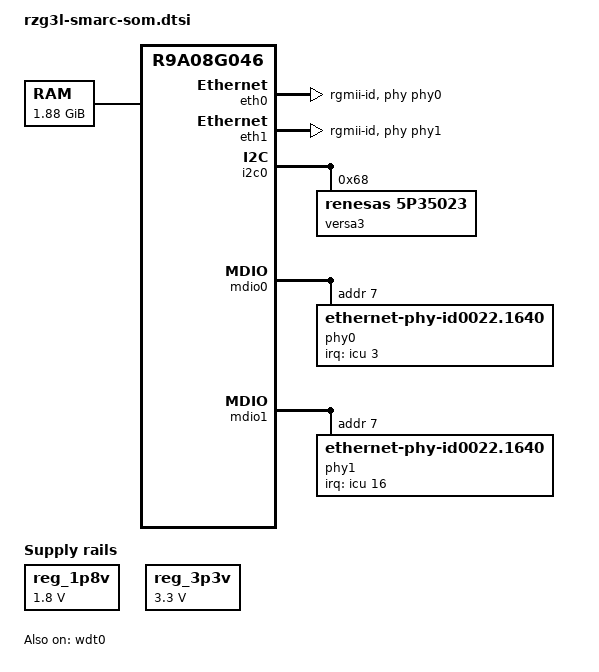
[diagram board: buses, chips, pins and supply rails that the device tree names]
// SPDX-License-Identifier: (GPL-2.0-only OR BSD-2-Clause)
/*
 * Device Tree Source for R9A08G046L48 SMARC SoM board.
 *
 * Copyright (C) 2026 Renesas Electronics Corp.
 */

/*
 * Please set the below switch position on the SoM and the corresponding macro
 * on the board DTS:
 *
 * Switch position SYS.2, Macro SW_I3C_EN:
 *      0 - SMARC_I2C_GP is enabled
 *      1 - I3C is enabled
 *
 * Switch position SYS.4, Macro SW_SD2_EN:
 *      0 - Select I2S0
 *      1 - Select SD2
 *
 * Switch position SYS.5, Macro SW_DPI_EN:
 *      0 - Select multiple SMARC signals active
 *      1 - Select LCD
 *
 * Switch position BOOT.1, Macro RZ_BOOT_MODE3:
 *      0 - Select JTAG enabled
 *      1 - Select SDIO {CD,IOVS,PWEN} and GPIO4 Active
 *
 * Switch position SW_GPIO4, Macro SW_GPIO4:
 *      0 - Select RZ_VBAT_TAMPER (position 2-1)
 *      1 - Select GPIO4 (position 2-3)
 */

/ {
	compatible = "renesas,rzg3l-smarcm", "renesas,r9a08g046l48", "renesas,r9a08g046";

	aliases {
		ethernet0 = &eth0;
		ethernet1 = &eth1;
		i2c0 = &i2c0;
	};

	memory@48000000 {
		device_type = "memory";
		/* First 128MiB is reserved for secure area. */
		reg = <0x0 0x48000000 0x0 0x78000000>;
	};

	reg_1p8v: regulator-1p8v {
		compatible = "regulator-fixed";
		regulator-name = "fixed-1.8V";
		regulator-min-microvolt = <1800000>;
		regulator-max-microvolt = <1800000>;
		regulator-boot-on;
		regulator-always-on;
	};

	reg_3p3v: regulator-3p3v {
		compatible = "regulator-fixed";
		regulator-name = "fixed-3.3V";
		regulator-min-microvolt = <3300000>;
		regulator-max-microvolt = <3300000>;
		regulator-boot-on;
		regulator-always-on;
	};

	x2_clk: x2-clock {
		compatible = "fixed-clock";
		#clock-cells = <0>;
		clock-frequency = <24000000>;
	};
};

&eth0 {
	phy-handle = <&phy0>;
	phy-mode = "rgmii-id";

	pinctrl-0 = <&eth0_pins>;
	pinctrl-names = "default";
	status = "okay";
};

&eth0_rxc_rx_clk {
	clock-frequency = <125000000>;
};

&eth1 {
	phy-handle = <&phy1>;
	phy-mode = "rgmii-id";

	pinctrl-0 = <&eth1_pins>;
	pinctrl-names = "default";
	status = "okay";
};

&eth1_rxc_rx_clk {
	clock-frequency = <125000000>;
};

&extal_clk {
	clock-frequency = <24000000>;
};

&i2c0 {
	pinctrl-0 = <&i2c0_pins>;
	pinctrl-names = "default";

	versa3: clock-generator@68 {
		compatible = "renesas,5p35023";
		reg = <0x68>;
		#clock-cells = <1>;
		clocks = <&x2_clk>;

		assigned-clocks = <&versa3 1>, <&versa3 2>,
				  <&versa3 3>, <&versa3 4>;
		assigned-clock-rates = <12288000>, <11289600>,
				       <12288000>, <25000000>;
	};
};

&mdio0 {
	phy0: ethernet-phy@7 {
		compatible = "ethernet-phy-id0022.1640";
		reg = <7>;
		interrupts-extended = <&icu 3 IRQ_TYPE_LEVEL_LOW>;
		rxc-skew-psec = <1400>;
		txc-skew-psec = <1400>;
		rxdv-skew-psec = <0>;
		txen-skew-psec = <0>;
		rxd0-skew-psec = <0>;
		rxd1-skew-psec = <0>;
		rxd2-skew-psec = <0>;
		rxd3-skew-psec = <0>;
		txd0-skew-psec = <0>;
		txd1-skew-psec = <0>;
		txd2-skew-psec = <0>;
		txd3-skew-psec = <0>;
	};
};

&mdio1 {
	phy1: ethernet-phy@7 {
		compatible = "ethernet-phy-id0022.1640";
		reg = <7>;
		interrupts-extended = <&icu 16 IRQ_TYPE_LEVEL_LOW>;
		rxc-skew-psec = <1400>;
		txc-skew-psec = <1400>;
		rxdv-skew-psec = <0>;
		txen-skew-psec = <0>;
		rxd0-skew-psec = <0>;
		rxd1-skew-psec = <0>;
		rxd2-skew-psec = <0>;
		rxd3-skew-psec = <0>;
		txd0-skew-psec = <0>;
		txd1-skew-psec = <0>;
		txd2-skew-psec = <0>;
		txd3-skew-psec = <0>;
	};
};

&pinctrl {
	eth0_pins: eth0 {
		txc {
			pinmux = <RZG3L_PORT_PINMUX(B, 1, 1)>;  /* ETH0_TXC_REF_CLK */
			power-source = <1800>;
			output-enable;
			drive-strength-microamp = <5200>;
		};

		ctrl {
			pinmux = <RZG3L_PORT_PINMUX(A, 0, 1)>, /* MDIO */
				 <RZG3L_PORT_PINMUX(A, 1, 1)>, /* MDC */
				 <RZG3L_PORT_PINMUX(A, 2, 1)>, /* RX_CTL */
				 <RZG3L_PORT_PINMUX(A, 3, 1)>, /* TX_CTL */
				 <RZG3L_PORT_PINMUX(B, 0, 1)>, /* RXC */
				 <RZG3L_PORT_PINMUX(B, 2, 1)>, /* TXD0 */
				 <RZG3L_PORT_PINMUX(B, 3, 1)>, /* TXD1 */
				 <RZG3L_PORT_PINMUX(B, 4, 1)>, /* TXD2 */
				 <RZG3L_PORT_PINMUX(B, 5, 1)>, /* TXD3 */
				 <RZG3L_PORT_PINMUX(B, 6, 1)>, /* RXD0 */
				 <RZG3L_PORT_PINMUX(B, 7, 1)>, /* RXD1 */
				 <RZG3L_PORT_PINMUX(C, 0, 1)>, /* RXD2 */
				 <RZG3L_PORT_PINMUX(C, 1, 1)>, /* RXD3 */
				 <RZG3L_PORT_PINMUX(C, 2, 15)>; /* PHY_INTR */
				 power-source = <1800>;
		};
	};

	eth1_pins: eth1 {
		txc {
			pinmux = <RZG3L_PORT_PINMUX(E, 1, 1)>;  /* ETH1_TXC_REF_CLK */
			power-source = <1800>;
			output-enable;
			drive-strength-microamp = <5200>;
		};

		ctrl {
			pinmux = <RZG3L_PORT_PINMUX(D, 0, 1)>, /* MDIO */
				 <RZG3L_PORT_PINMUX(D, 1, 1)>, /* MDC */
				 <RZG3L_PORT_PINMUX(D, 2, 1)>, /* RX_CTL */
				 <RZG3L_PORT_PINMUX(D, 3, 1)>, /* TX_CTL */
				 <RZG3L_PORT_PINMUX(E, 0, 1)>, /* RXC */
				 <RZG3L_PORT_PINMUX(E, 2, 1)>, /* TXD0 */
				 <RZG3L_PORT_PINMUX(E, 3, 1)>, /* TXD1 */
				 <RZG3L_PORT_PINMUX(E, 4, 1)>, /* TXD2 */
				 <RZG3L_PORT_PINMUX(E, 5, 1)>, /* TXD3 */
				 <RZG3L_PORT_PINMUX(E, 6, 1)>, /* RXD0 */
				 <RZG3L_PORT_PINMUX(E, 7, 1)>, /* RXD1 */
				 <RZG3L_PORT_PINMUX(F, 0, 1)>, /* RXD2 */
				 <RZG3L_PORT_PINMUX(F, 1, 1)>, /* RXD3 */
				 <RZG3L_PORT_PINMUX(F, 2, 15)>; /* PHY_INTR */
				 power-source = <1800>;
		};
	};

	i2c0_pins: i2c0 {
		pinmux = <RZG3L_PORT_PINMUX(L, 2, 4)>, /* RIIC0_SCL */
			 <RZG3L_PORT_PINMUX(L, 3, 4)>; /* RIIC0_SDA */
	};
};

&wdt0 {
	timeout-sec = <60>;
	status = "okay";
};
